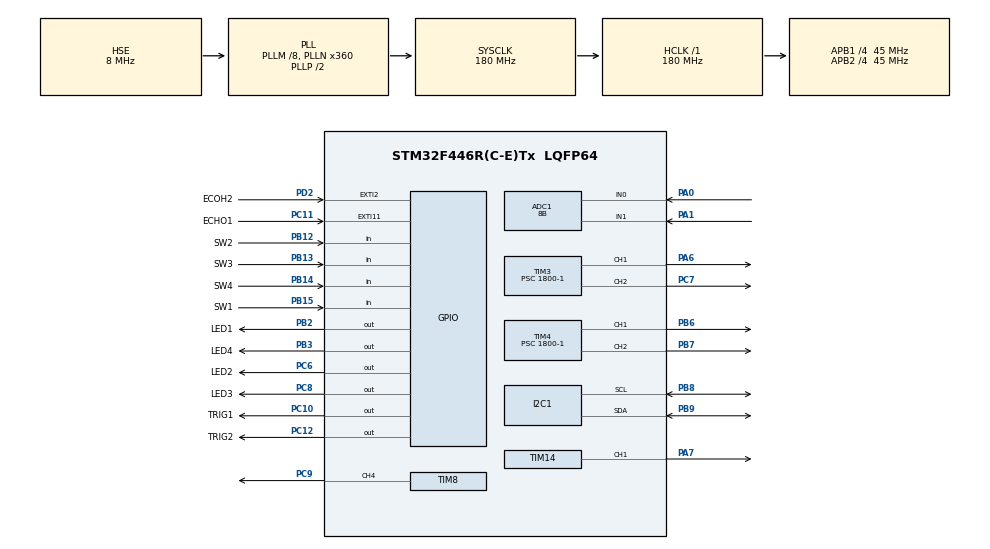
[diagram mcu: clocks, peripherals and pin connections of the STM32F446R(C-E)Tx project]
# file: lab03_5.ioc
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ADC1.Channel-0\#ChannelRegularConversion=ADC_CHANNEL_0
ADC1.NbrOfConversionFlag=1
ADC1.Rank-0\#ChannelRegularConversion=1
ADC1.Resolution=ADC_RESOLUTION_8B
ADC1.SamplingTime-0\#ChannelRegularConversion=ADC_SAMPLETIME_3CYCLES
ADC1.master=1
FREERTOS.Mutexes01=joyMutex,Dynamic,NULL,Available;motorMutex,Dynamic,NULL,Available;ultraMutex,Dynamic,NULL,Available
FREERTOS.Tasks01=ultrasonicTask,24,128,ultrasonicThread,Default,NULL,Dynamic,NULL,NULL;motorTask,24,128,motorThread,Default,NULL,Dynamic,NULL,NULL;switchTask,8,128,switchThread,Default,NULL,Dynamic,NULL,NULL;joystickTask,24,128,joystickThread,Default,NULL,Dynamic,NULL,NULL;mainTask,24,128,mainThread,Default,NULL,Dynamic,NULL,NULL
FREERTOS.configUSE_NEWLIB_REENTRANT=1
I2C1.I2C_Mode=I2C_Fast
Mcu.Family=STM32F4
Mcu.Name=STM32F446R(C-E)Tx
Mcu.Package=LQFP64
NVIC.EXTI15_10_IRQn=true\:5\:0\:false\:false\:true\:true\:true\:true\:true
NVIC.EXTI2_IRQn=true\:5\:0\:false\:false\:true\:true\:true\:true\:true
NVIC.PriorityGroup=NVIC_PRIORITYGROUP_4
NVIC.TIM7_IRQn=true\:15\:0\:false\:false\:true\:false\:false\:true\:true
NVIC.TimeBase=TIM7_IRQn
NVIC.TimeBaseIP=TIM7
PA0-WKUP.Signal=ADCx_IN0
PA1.Signal=ADCx_IN1
PA13.Mode=Serial_Wire
PA13.Signal=SYS_JTMS-SWDIO
PA14.Mode=Serial_Wire
PA14.Signal=SYS_JTCK-SWCLK
PA6.Signal=S_TIM3_CH1
PA7.Signal=S_TIM14_CH1
PB12.GPIO_Label=SW2
PB12.Signal=GPIO_Input
PB13.GPIO_Label=SW3
PB13.Signal=GPIO_Input
PB14.GPIO_Label=SW4
PB14.Signal=GPIO_Input
PB15.GPIO_Label=SW1
PB15.Signal=GPIO_Input
PB2.GPIO_Label=LED1
PB2.Signal=GPIO_Output
PB3.GPIO_Label=LED4
PB3.Signal=GPIO_Output
PB6.Signal=S_TIM4_CH1
PB7.Signal=S_TIM4_CH2
PB8.Mode=I2C
PB8.Signal=I2C1_SCL
PB9.Mode=I2C
PB9.Signal=I2C1_SDA
PC10.GPIO_Label=TRIG1
PC10.Signal=GPIO_Output
PC11.GPIO_Label=ECHO1
PC11.GPIO_ModeDefaultEXTI=GPIO_MODE_IT_RISING_FALLING
PC11.Signal=GPXTI11
PC12.GPIO_Label=TRIG2
PC12.Signal=GPIO_Output
PC6.GPIO_Label=LED2
PC6.Signal=GPIO_Output
PC7.Signal=S_TIM3_CH2
PC8.GPIO_Label=LED3
PC8.Signal=GPIO_Output
PC9.Signal=S_TIM8_CH4
PD2.GPIO_Label=ECOH2
PD2.GPIO_ModeDefaultEXTI=GPIO_MODE_IT_RISING_FALLING
PD2.Signal=GPXTI2
PH0-OSC_IN.Mode=HSE-External-Oscillator
PH0-OSC_IN.Signal=RCC_OSC_IN
PH1-OSC_OUT.Mode=HSE-External-Oscillator
PH1-OSC_OUT.Signal=RCC_OSC_OUT
ProjectManager.HeapSize=0x200
ProjectManager.StackSize=0x400
ProjectManager.TargetToolchain=STM32CubeIDE
RCC.AHBFreq_Value=180000000
RCC.APB1CLKDivider=RCC_HCLK_DIV4
RCC.APB1Freq_Value=45000000
RCC.APB1TimFreq_Value=90000000
RCC.APB2CLKDivider=RCC_HCLK_DIV4
RCC.APB2Freq_Value=45000000
RCC.APB2TimFreq_Value=90000000
RCC.CortexFreq_Value=180000000
RCC.HCLKFreq_Value=180000000
RCC.HSE_VALUE=8000000
RCC.PLLM=8
RCC.PLLN=360
RCC.PLLSourceVirtual=RCC_PLLSOURCE_HSE
RCC.SYSCLKFreq_VALUE=180000000
RCC.SYSCLKSource=RCC_SYSCLKSOURCE_PLLCLK
RCC.USBFreq_Value=180000000
RCC.VCOOutputFreq_Value=360000000
SH.ADCx_IN0.0=ADC1_IN0,IN0
SH.ADCx_IN1.0=ADC1_IN1,IN1
SH.S_TIM14_CH1.0=TIM14_CH1,PWM Generation1 CH1
SH.S_TIM3_CH1.0=TIM3_CH1,PWM Generation1 CH1
SH.S_TIM3_CH2.0=TIM3_CH2,PWM Generation2 CH2
SH.S_TIM4_CH1.0=TIM4_CH1,PWM Generation1 CH1
SH.S_TIM4_CH2.0=TIM4_CH2,PWM Generation2 CH2
SH.S_TIM8_CH4.0=TIM8_CH4,PWM Generation4 CH4
TIM14.AutoReloadPreload=TIM_AUTORELOAD_PRELOAD_ENABLE
TIM14.Channel=TIM_CHANNEL_1
TIM14.Period=10000-1
TIM14.Prescaler=180-1
TIM2.AutoReloadPreload=TIM_AUTORELOAD_PRELOAD_ENABLE
TIM2.Prescaler=90-1
TIM3.AutoReloadPreload=TIM_AUTORELOAD_PRELOAD_ENABLE
TIM3.Channel-PWM\ Generation1\ CH1=TIM_CHANNEL_1
TIM3.Channel-PWM\ Generation2\ CH2=TIM_CHANNEL_2
TIM3.Period=1000-1
TIM3.Prescaler=1800-1
TIM4.AutoReloadPreload=TIM_AUTORELOAD_PRELOAD_ENABLE
TIM4.Channel-PWM\ Generation1\ CH1=TIM_CHANNEL_1
TIM4.Channel-PWM\ Generation2\ CH2=TIM_CHANNEL_2
TIM4.Period=1000-1
TIM4.Prescaler=1800-1
TIM8.AutoReloadPreload=TIM_AUTORELOAD_PRELOAD_ENABLE
TIM8.Channel-PWM\ Generation4\ CH4=TIM_CHANNEL_4
TIM8.Period=10000-1
TIM8.Prescaler=180-1
VP_FREERTOS_VS_CMSIS_V2.Mode=CMSIS_V2
VP_SYS_VS_tim7.Mode=TIM7
VP_TIM14_VS_ClockSourceINT.Mode=Enable_Timer
VP_TIM2_VS_ClockSourceINT.Mode=Internal
VP_TIM3_VS_ClockSourceINT.Mode=Internal
VP_TIM4_VS_ClockSourceINT.Mode=Internal
VP_TIM8_VS_ClockSourceINT.Mode=Internal
board=custom

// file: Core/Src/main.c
/* USER CODE BEGIN Header */
/**
  ******************************************************************************
  * @file           : main.c
  * @brief          : Main program body
  ******************************************************************************
  * @attention
  *
  * Copyright (c) 2026 STMicroelectronics.
  * All rights reserved.
  *
  * This software is licensed under terms that can be found in the LICENSE file
  * in the root directory of this software component.
  * If no LICENSE file comes with this software, it is provided AS-IS.
  *
  ******************************************************************************
  */
/* USER CODE END Header */
#include "main.h"
#include "cmsis_os.h"

/* USER CODE BEGIN Includes */
#include <stdio.h>
#include <string.h>
#include "ssd1306.h"
/* USER CODE END Includes */

/* USER CODE BEGIN PD */
#define MAXDISTANCE 3000  //Maximum distance 3000uS/2
#define MAXDELAY	5   //Maximum time delay in ms
#define MAXDETECT   1000 //Maximum distance considered as detected uS/2
/* USER CODE END PD */

ADC_HandleTypeDef hadc1;

I2C_HandleTypeDef hi2c1;

TIM_HandleTypeDef htim2;
TIM_HandleTypeDef htim3;
TIM_HandleTypeDef htim4;
TIM_HandleTypeDef htim8;
TIM_HandleTypeDef htim14;

/* Definitions for ultrasonicTask */
osThreadId_t ultrasonicTaskHandle;
const osThreadAttr_t ultrasonicTask_attributes = {
  .name = "ultrasonicTask",
  .stack_size = 128 * 4,
  .priority = (osPriority_t) osPriorityNormal,
};
/* Definitions for motorTask */
osThreadId_t motorTaskHandle;
const osThreadAttr_t motorTask_attributes = {
  .name = "motorTask",
  .stack_size = 128 * 4,
  .priority = (osPriority_t) osPriorityNormal,
};
/* Definitions for switchTask */
osThreadId_t switchTaskHandle;
const osThreadAttr_t switchTask_attributes = {
  .name = "switchTask",
  .stack_size = 128 * 4,
  .priority = (osPriority_t) osPriorityLow,
};
/* Definitions for joystickTask */
osThreadId_t joystickTaskHandle;
const osThreadAttr_t joystickTask_attributes = {
  .name = "joystickTask",
  .stack_size = 128 * 4,
  .priority = (osPriority_t) osPriorityNormal,
};
/* Definitions for mainTask */
osThreadId_t mainTaskHandle;
const osThreadAttr_t mainTask_attributes = {
  .name = "mainTask",
  .stack_size = 128 * 4,
  .priority = (osPriority_t) osPriorityNormal,
};
/* Definitions for joyMutex */
osMutexId_t joyMutexHandle;
const osMutexAttr_t joyMutex_attributes = {
  .name = "joyMutex"
};
/* Definitions for motorMutex */
osMutexId_t motorMutexHandle;
const osMutexAttr_t motorMutex_attributes = {
  .name = "motorMutex"
};
/* Definitions for ultraMutex */
osMutexId_t ultraMutexHandle;
const osMutexAttr_t ultraMutex_attributes = {
  .name = "ultraMutex"
};
/* USER CODE BEGIN PV */
//LED1-4
GPIO_TypeDef *ledPort[4] = {GPIOB,GPIOC,GPIOC,GPIOB};
int ledGPIO[4] = {GPIO_PIN_2,GPIO_PIN_6,GPIO_PIN_8,GPIO_PIN_3};

//SWITCH1-4
GPIO_TypeDef *keyPort[4] = {GPIOB,GPIOB,GPIOB,GPIOB};
int keyGPIO[4] = {GPIO_PIN_15,GPIO_PIN_12,GPIO_PIN_13,GPIO_PIN_14};

//ULTRASONIC1-2
GPIO_TypeDef *UP_trig[2] = {GPIOC,GPIOC};
GPIO_TypeDef *UP_echo[2] = {GPIOD,GPIOC};
uint16_t trig[2] = {GPIO_PIN_12,GPIO_PIN_10};
uint16_t echo[2] = {GPIO_PIN_2,GPIO_PIN_11};

int direction=0;		//robot left-right direction
int speed=0;			//robot forward/backward direction
int motorSpeed[2] = {0};//main motors speed
int ultra[2] = {-1,-1}; //left-right detection
int ultraEN = 0;		//ultrasonic detection enable
int servoEN = 0;		//servo movement enable
int joyX,joyY;			//value from joystick
int servoPWM[2] = {50,50};//servo PWM
char msg[64];
int distance[19]={0};	//distance in 180 degree,use with servoEN=1

uint32_t uStart1,uStart2,uEnd1,uEnd2;
uint32_t uTime[2];
/* USER CODE END PV */

void SystemClock_Config(void);
static void MX_GPIO_Init(void);
static void MX_TIM2_Init(void);
static void MX_I2C1_Init(void);
static void MX_ADC1_Init(void);
static void MX_TIM3_Init(void);
static void MX_TIM4_Init(void);
static void MX_TIM8_Init(void);
static void MX_TIM14_Init(void);
void ultrasonicThread(void *argument);
void motorThread(void *argument);
void switchThread(void *argument);
void joystickThread(void *argument);
void mainThread(void *argument);

/* USER CODE BEGIN PFP */
int getch(int sw);
void lightLED(int no,int value);
void clearTimer();
uint32_t getTimer();
void uDelay(uint32_t us);
int ultraSonic(int no);
void setADCChannel(ADC_HandleTypeDef *hadc, uint32_t chan);
/* USER CODE END PFP */

/* USER CODE BEGIN 0 */
void HAL_GPIO_EXTI_Callback(uint16_t GPIO_Pin){
	if(GPIO_Pin == GPIO_PIN_2){ //left side
		if(HAL_GPIO_ReadPin(GPIOD,GPIO_PIN_2)){ //start positive pulse
			uStart1 = __HAL_TIM_GetCounter(&htim2); //Read timestamp
		}else{ //ending of positive pulse
			uEnd1 = __HAL_TIM_GetCounter(&htim2);
			uTime[0] = uEnd1-uStart1;
		}
	}else if(GPIO_Pin == GPIO_PIN_11){ //right side
		if(HAL_GPIO_ReadPin(GPIOC,GPIO_PIN_11)){ //start positive pulse
			uStart2 = __HAL_TIM_GetCounter(&htim2); //Read timestamp
		}else{ //ending of positive pulse
			uEnd2 = __HAL_TIM_GetCounter(&htim2);
			uTime[1] = uEnd2-uStart2;
		}
	}
}
/* USER CODE END 0 */

int main(void)
{

  /* MCU Configuration--------------------------------------------------------*/

  /* Reset of all peripherals, Initializes the Flash interface and the Systick. */
  HAL_Init();

  /* Configure the system clock */
  SystemClock_Config();

  /* Initialize all configured peripherals */
  MX_GPIO_Init();
  MX_TIM2_Init();
  MX_I2C1_Init();
  MX_ADC1_Init();
  MX_TIM3_Init();
  MX_TIM4_Init();
  MX_TIM8_Init();
  MX_TIM14_Init();
  /* USER CODE BEGIN 2 */
  HAL_TIM_Base_Start(&htim2);
  HAL_GPIO_WritePin(UP_trig[0],trig[0],0);
  HAL_GPIO_WritePin(UP_trig[1],trig[1],0);
  ssd1306_Init();
  /* USER CODE END 2 */

  /* Init scheduler */
  osKernelInitialize();
  /* Create the mutex(es) */
  /* creation of joyMutex */
  joyMutexHandle = osMutexNew(&joyMutex_attributes);

  /* creation of motorMutex */
  motorMutexHandle = osMutexNew(&motorMutex_attributes);

  /* creation of ultraMutex */
  ultraMutexHandle = osMutexNew(&ultraMutex_attributes);

  /* Create the thread(s) */
  /* creation of ultrasonicTask */
  ultrasonicTaskHandle = osThreadNew(ultrasonicThread, NULL, &ultrasonicTask_attributes);

  /* creation of motorTask */
  motorTaskHandle = osThreadNew(motorThread, NULL, &motorTask_attributes);

  /* creation of switchTask */
  switchTaskHandle = osThreadNew(switchThread, NULL, &switchTask_attributes);

  /* creation of joystickTask */
  joystickTaskHandle = osThreadNew(joystickThread, NULL, &joystickTask_attributes);

  /* creation of mainTask */
  mainTaskHandle = osThreadNew(mainThread, NULL, &mainTask_attributes);

  /* Start scheduler */
  osKernelStart();

  /* We should never get here as control is now taken by the scheduler */

  /* Infinite loop */
  while (1)
  {

  }
}

void SystemClock_Config(void)
{
  RCC_OscInitTypeDef RCC_OscInitStruct = {0};
  RCC_ClkInitTypeDef RCC_ClkInitStruct = {0};

  /** Configure the main internal regulator output voltage
  */
  __HAL_RCC_PWR_CLK_ENABLE();
  __HAL_PWR_VOLTAGESCALING_CONFIG(PWR_REGULATOR_VOLTAGE_SCALE1);

  /** Initializes the RCC Oscillators according to the specified parameters
  * in the RCC_OscInitTypeDef structure.
  */
  RCC_OscInitStruct.OscillatorType = RCC_OSCILLATORTYPE_HSE;
  RCC_OscInitStruct.HSEState = RCC_HSE_ON;
  RCC_OscInitStruct.PLL.PLLState = RCC_PLL_ON;
  RCC_OscInitStruct.PLL.PLLSource = RCC_PLLSOURCE_HSE;
  RCC_OscInitStruct.PLL.PLLM = 8;
  RCC_OscInitStruct.PLL.PLLN = 360;
  RCC_OscInitStruct.PLL.PLLP = RCC_PLLP_DIV2;
  RCC_OscInitStruct.PLL.PLLQ = 2;
  RCC_OscInitStruct.PLL.PLLR = 2;
  if (HAL_RCC_OscConfig(&RCC_OscInitStruct) != HAL_OK)
  {
    Error_Handler();
  }

  /** Activate the Over-Drive mode
  */
  if (HAL_PWREx_EnableOverDrive() != HAL_OK)
  {
    Error_Handler();
  }

  /** Initializes the CPU, AHB and APB buses clocks
  */
  RCC_ClkInitStruct.ClockType = RCC_CLOCKTYPE_HCLK|RCC_CLOCKTYPE_SYSCLK
                              |RCC_CLOCKTYPE_PCLK1|RCC_CLOCKTYPE_PCLK2;
  RCC_ClkInitStruct.SYSCLKSource = RCC_SYSCLKSOURCE_PLLCLK;
  RCC_ClkInitStruct.AHBCLKDivider = RCC_SYSCLK_DIV1;
  RCC_ClkInitStruct.APB1CLKDivider = RCC_HCLK_DIV4;
  RCC_ClkInitStruct.APB2CLKDivider = RCC_HCLK_DIV4;

  if (HAL_RCC_ClockConfig(&RCC_ClkInitStruct, FLASH_LATENCY_5) != HAL_OK)
  {
    Error_Handler();
  }
}

static void MX_ADC1_Init(void)
{

  ADC_ChannelConfTypeDef sConfig = {0};

  /** Configure the global features of the ADC (Clock, Resolution, Data Alignment and number of conversion)
  */
  hadc1.Instance = ADC1;
  hadc1.Init.ClockPrescaler = ADC_CLOCK_SYNC_PCLK_DIV2;
  hadc1.Init.Resolution = ADC_RESOLUTION_8B;
  hadc1.Init.ScanConvMode = DISABLE;
  hadc1.Init.ContinuousConvMode = DISABLE;
  hadc1.Init.DiscontinuousConvMode = DISABLE;
  hadc1.Init.ExternalTrigConvEdge = ADC_EXTERNALTRIGCONVEDGE_NONE;
  hadc1.Init.ExternalTrigConv = ADC_SOFTWARE_START;
  hadc1.Init.DataAlign = ADC_DATAALIGN_RIGHT;
  hadc1.Init.NbrOfConversion = 1;
  hadc1.Init.DMAContinuousRequests = DISABLE;
  hadc1.Init.EOCSelection = ADC_EOC_SINGLE_CONV;
  if (HAL_ADC_Init(&hadc1) != HAL_OK)
  {
    Error_Handler();
  }

  /** Configure for the selected ADC regular channel its corresponding rank in the sequencer and its sample time.
  */
  sConfig.Channel = ADC_CHANNEL_0;
  sConfig.Rank = 1;
  sConfig.SamplingTime = ADC_SAMPLETIME_3CYCLES;
  if (HAL_ADC_ConfigChannel(&hadc1, &sConfig) != HAL_OK)
  {
    Error_Handler();
  }

}

static void MX_I2C1_Init(void)
{

  hi2c1.Instance = I2C1;
  hi2c1.Init.ClockSpeed = 400000;
  hi2c1.Init.DutyCycle = I2C_DUTYCYCLE_2;
  hi2c1.Init.OwnAddress1 = 0;
  hi2c1.Init.AddressingMode = I2C_ADDRESSINGMODE_7BIT;
  hi2c1.Init.DualAddressMode = I2C_DUALADDRESS_DISABLE;
  hi2c1.Init.OwnAddress2 = 0;
  hi2c1.Init.GeneralCallMode = I2C_GENERALCALL_DISABLE;
  hi2c1.Init.NoStretchMode = I2C_NOSTRETCH_DISABLE;
  if (HAL_I2C_Init(&hi2c1) != HAL_OK)
  {
    Error_Handler();
  }

}

static void MX_TIM2_Init(void)
{

  TIM_ClockConfigTypeDef sClockSourceConfig = {0};
  TIM_MasterConfigTypeDef sMasterConfig = {0};

  htim2.Instance = TIM2;
  htim2.Init.Prescaler = 90-1;
  htim2.Init.CounterMode = TIM_COUNTERMODE_UP;
  htim2.Init.Period = 4294967295;
  htim2.Init.ClockDivision = TIM_CLOCKDIVISION_DIV1;
  htim2.Init.AutoReloadPreload = TIM_AUTORELOAD_PRELOAD_ENABLE;
  if (HAL_TIM_Base_Init(&htim2) != HAL_OK)
  {
    Error_Handler();
  }
  sClockSourceConfig.ClockSource = TIM_CLOCKSOURCE_INTERNAL;
  if (HAL_TIM_ConfigClockSource(&htim2, &sClockSourceConfig) != HAL_OK)
  {
    Error_Handler();
  }
  sMasterConfig.MasterOutputTrigger = TIM_TRGO_RESET;
  sMasterConfig.MasterSlaveMode = TIM_MASTERSLAVEMODE_DISABLE;
  if (HAL_TIMEx_MasterConfigSynchronization(&htim2, &sMasterConfig) != HAL_OK)
  {
    Error_Handler();
  }

}

static void MX_TIM3_Init(void)
{

  TIM_ClockConfigTypeDef sClockSourceConfig = {0};
  TIM_MasterConfigTypeDef sMasterConfig = {0};
  TIM_OC_InitTypeDef sConfigOC = {0};

  htim3.Instance = TIM3;
  htim3.Init.Prescaler = 1800-1;
  htim3.Init.CounterMode = TIM_COUNTERMODE_UP;
  htim3.Init.Period = 1000-1;
  htim3.Init.ClockDivision = TIM_CLOCKDIVISION_DIV1;
  htim3.Init.AutoReloadPreload = TIM_AUTORELOAD_PRELOAD_ENABLE;
  if (HAL_TIM_Base_Init(&htim3) != HAL_OK)
  {
    Error_Handler();
  }
  sClockSourceConfig.ClockSource = TIM_CLOCKSOURCE_INTERNAL;
  if (HAL_TIM_ConfigClockSource(&htim3, &sClockSourceConfig) != HAL_OK)
  {
    Error_Handler();
  }
  if (HAL_TIM_PWM_Init(&htim3) != HAL_OK)
  {
    Error_Handler();
  }
  sMasterConfig.MasterOutputTrigger = TIM_TRGO_RESET;
  sMasterConfig.MasterSlaveMode = TIM_MASTERSLAVEMODE_DISABLE;
  if (HAL_TIMEx_MasterConfigSynchronization(&htim3, &sMasterConfig) != HAL_OK)
  {
    Error_Handler();
  }
  sConfigOC.OCMode = TIM_OCMODE_PWM1;
  sConfigOC.Pulse = 0;
  sConfigOC.OCPolarity = TIM_OCPOLARITY_HIGH;
  sConfigOC.OCFastMode = TIM_OCFAST_DISABLE;
  if (HAL_TIM_PWM_ConfigChannel(&htim3, &sConfigOC, TIM_CHANNEL_1) != HAL_OK)
  {
    Error_Handler();
  }
  if (HAL_TIM_PWM_ConfigChannel(&htim3, &sConfigOC, TIM_CHANNEL_2) != HAL_OK)
  {
    Error_Handler();
  }
  HAL_TIM_MspPostInit(&htim3);

}

static void MX_TIM4_Init(void)
{

  TIM_ClockConfigTypeDef sClockSourceConfig = {0};
  TIM_MasterConfigTypeDef sMasterConfig = {0};
  TIM_OC_InitTypeDef sConfigOC = {0};

  htim4.Instance = TIM4;
  htim4.Init.Prescaler = 1800-1;
  htim4.Init.CounterMode = TIM_COUNTERMODE_UP;
  htim4.Init.Period = 1000-1;
  htim4.Init.ClockDivision = TIM_CLOCKDIVISION_DIV1;
  htim4.Init.AutoReloadPreload = TIM_AUTORELOAD_PRELOAD_ENABLE;
  if (HAL_TIM_Base_Init(&htim4) != HAL_OK)
  {
    Error_Handler();
  }
  sClockSourceConfig.ClockSource = TIM_CLOCKSOURCE_INTERNAL;
  if (HAL_TIM_ConfigClockSource(&htim4, &sClockSourceConfig) != HAL_OK)
  {
    Error_Handler();
  }
  if (HAL_TIM_PWM_Init(&htim4) != HAL_OK)
  {
    Error_Handler();
  }
  sMasterConfig.MasterOutputTrigger = TIM_TRGO_RESET;
  sMasterConfig.MasterSlaveMode = TIM_MASTERSLAVEMODE_DISABLE;
  if (HAL_TIMEx_MasterConfigSynchronization(&htim4, &sMasterConfig) != HAL_OK)
  {
    Error_Handler();
  }
  sConfigOC.OCMode = TIM_OCMODE_PWM1;
  sConfigOC.Pulse = 0;
  sConfigOC.OCPolarity = TIM_OCPOLARITY_HIGH;
  sConfigOC.OCFastMode = TIM_OCFAST_DISABLE;
  if (HAL_TIM_PWM_ConfigChannel(&htim4, &sConfigOC, TIM_CHANNEL_1) != HAL_OK)
  {
    Error_Handler();
  }
  if (HAL_TIM_PWM_ConfigChannel(&htim4, &sConfigOC, TIM_CHANNEL_2) != HAL_OK)
  {
    Error_Handler();
  }
  HAL_TIM_MspPostInit(&htim4);

}

static void MX_TIM8_Init(void)
{

  TIM_ClockConfigTypeDef sClockSourceConfig = {0};
  TIM_MasterConfigTypeDef sMasterConfig = {0};
  TIM_OC_InitTypeDef sConfigOC = {0};
  TIM_BreakDeadTimeConfigTypeDef sBreakDeadTimeConfig = {0};

  htim8.Instance = TIM8;
  htim8.Init.Prescaler = 180-1;
  htim8.Init.CounterMode = TIM_COUNTERMODE_UP;
  htim8.Init.Period = 10000-1;
  htim8.Init.ClockDivision = TIM_CLOCKDIVISION_DIV1;
  htim8.Init.RepetitionCounter = 0;
  htim8.Init.AutoReloadPreload = TIM_AUTORELOAD_PRELOAD_ENABLE;
  if (HAL_TIM_Base_Init(&htim8) != HAL_OK)
  {
    Error_Handler();
  }
  sClockSourceConfig.ClockSource = TIM_CLOCKSOURCE_INTERNAL;
  if (HAL_TIM_ConfigClockSource(&htim8, &sClockSourceConfig) != HAL_OK)
  {
    Error_Handler();
  }
  if (HAL_TIM_PWM_Init(&htim8) != HAL_OK)
  {
    Error_Handler();
  }
  sMasterConfig.MasterOutputTrigger = TIM_TRGO_RESET;
  sMasterConfig.MasterSlaveMode = TIM_MASTERSLAVEMODE_DISABLE;
  if (HAL_TIMEx_MasterConfigSynchronization(&htim8, &sMasterConfig) != HAL_OK)
  {
    Error_Handler();
  }
  sConfigOC.OCMode = TIM_OCMODE_PWM1;
  sConfigOC.Pulse = 0;
  sConfigOC.OCPolarity = TIM_OCPOLARITY_HIGH;
  sConfigOC.OCFastMode = TIM_OCFAST_DISABLE;
  sConfigOC.OCIdleState = TIM_OCIDLESTATE_RESET;
  sConfigOC.OCNIdleState = TIM_OCNIDLESTATE_RESET;
  if (HAL_TIM_PWM_ConfigChannel(&htim8, &sConfigOC, TIM_CHANNEL_4) != HAL_OK)
  {
    Error_Handler();
  }
  sBreakDeadTimeConfig.OffStateRunMode = TIM_OSSR_DISABLE;
  sBreakDeadTimeConfig.OffStateIDLEMode = TIM_OSSI_DISABLE;
  sBreakDeadTimeConfig.LockLevel = TIM_LOCKLEVEL_OFF;
  sBreakDeadTimeConfig.DeadTime = 0;
  sBreakDeadTimeConfig.BreakState = TIM_BREAK_DISABLE;
  sBreakDeadTimeConfig.BreakPolarity = TIM_BREAKPOLARITY_HIGH;
  sBreakDeadTimeConfig.AutomaticOutput = TIM_AUTOMATICOUTPUT_DISABLE;
  if (HAL_TIMEx_ConfigBreakDeadTime(&htim8, &sBreakDeadTimeConfig) != HAL_OK)
  {
    Error_Handler();
  }
  HAL_TIM_MspPostInit(&htim8);

}

static void MX_TIM14_Init(void)
{

  TIM_OC_InitTypeDef sConfigOC = {0};

  htim14.Instance = TIM14;
  htim14.Init.Prescaler = 180-1;
  htim14.Init.CounterMode = TIM_COUNTERMODE_UP;
  htim14.Init.Period = 10000-1;
  htim14.Init.ClockDivision = TIM_CLOCKDIVISION_DIV1;
  htim14.Init.AutoReloadPreload = TIM_AUTORELOAD_PRELOAD_ENABLE;
  if (HAL_TIM_Base_Init(&htim14) != HAL_OK)
  {
    Error_Handler();
  }
  if (HAL_TIM_PWM_Init(&htim14) != HAL_OK)
  {
    Error_Handler();
  }
  sConfigOC.OCMode = TIM_OCMODE_PWM1;
  sConfigOC.Pulse = 0;
  sConfigOC.OCPolarity = TIM_OCPOLARITY_HIGH;
  sConfigOC.OCFastMode = TIM_OCFAST_DISABLE;
  if (HAL_TIM_PWM_ConfigChannel(&htim14, &sConfigOC, TIM_CHANNEL_1) != HAL_OK)
  {
    Error_Handler();
  }
  HAL_TIM_MspPostInit(&htim14);

}

static void MX_GPIO_Init(void)
{
  GPIO_InitTypeDef GPIO_InitStruct = {0};

  /* GPIO Ports Clock Enable */
  __HAL_RCC_GPIOH_CLK_ENABLE();
  __HAL_RCC_GPIOA_CLK_ENABLE();
  __HAL_RCC_GPIOB_CLK_ENABLE();
  __HAL_RCC_GPIOC_CLK_ENABLE();
  __HAL_RCC_GPIOD_CLK_ENABLE();

  /*Configure GPIO pin Output Level */
  HAL_GPIO_WritePin(GPIOB, LED1_Pin|LED4_Pin, GPIO_PIN_RESET);

  /*Configure GPIO pin Output Level */
  HAL_GPIO_WritePin(GPIOC, LED2_Pin|LED3_Pin|TRIG1_Pin|TRIG2_Pin, GPIO_PIN_RESET);

  /*Configure GPIO pins : LED1_Pin LED4_Pin */
  GPIO_InitStruct.Pin = LED1_Pin|LED4_Pin;
  GPIO_InitStruct.Mode = GPIO_MODE_OUTPUT_PP;
  GPIO_InitStruct.Pull = GPIO_NOPULL;
  GPIO_InitStruct.Speed = GPIO_SPEED_FREQ_LOW;
  HAL_GPIO_Init(GPIOB, &GPIO_InitStruct);

  /*Configure GPIO pins : SW2_Pin SW3_Pin SW4_Pin SW1_Pin */
  GPIO_InitStruct.Pin = SW2_Pin|SW3_Pin|SW4_Pin|SW1_Pin;
  GPIO_InitStruct.Mode = GPIO_MODE_INPUT;
  GPIO_InitStruct.Pull = GPIO_NOPULL;
  HAL_GPIO_Init(GPIOB, &GPIO_InitStruct);

  /*Configure GPIO pins : LED2_Pin LED3_Pin TRIG1_Pin TRIG2_Pin */
  GPIO_InitStruct.Pin = LED2_Pin|LED3_Pin|TRIG1_Pin|TRIG2_Pin;
  GPIO_InitStruct.Mode = GPIO_MODE_OUTPUT_PP;
  GPIO_InitStruct.Pull = GPIO_NOPULL;
  GPIO_InitStruct.Speed = GPIO_SPEED_FREQ_LOW;
  HAL_GPIO_Init(GPIOC, &GPIO_InitStruct);

  /*Configure GPIO pin : ECHO1_Pin */
  GPIO_InitStruct.Pin = ECHO1_Pin;
  GPIO_InitStruct.Mode = GPIO_MODE_IT_RISING_FALLING;
  GPIO_InitStruct.Pull = GPIO_NOPULL;
  HAL_GPIO_Init(ECHO1_GPIO_Port, &GPIO_InitStruct);

  /*Configure GPIO pin : ECOH2_Pin */
  GPIO_InitStruct.Pin = ECOH2_Pin;
  GPIO_InitStruct.Mode = GPIO_MODE_IT_RISING_FALLING;
  GPIO_InitStruct.Pull = GPIO_NOPULL;
  HAL_GPIO_Init(ECOH2_GPIO_Port, &GPIO_InitStruct);

  /* EXTI interrupt init*/
  HAL_NVIC_SetPriority(EXTI2_IRQn, 5, 0);
  HAL_NVIC_EnableIRQ(EXTI2_IRQn);

  HAL_NVIC_SetPriority(EXTI15_10_IRQn, 5, 0);
  HAL_NVIC_EnableIRQ(EXTI15_10_IRQn);

}

/* USER CODE BEGIN 4 */
int getch(int sw){
	if(HAL_GPIO_ReadPin(keyPort[sw],keyGPIO[sw]))
		return 0; //not pressed
	HAL_Delay(20);
	//Wait for key unpressed
	while(!HAL_GPIO_ReadPin(keyPort[sw],keyGPIO[sw]))
		HAL_Delay(20);
	return 1;
}

void lightLED(int no,int value){
	HAL_GPIO_WritePin(ledPort[no],ledGPIO[no],value);
}

void clearTimer(){
	__HAL_TIM_SetCounter(&htim2,0);
}

uint32_t getTimer(){
	return __HAL_TIM_GetCounter(&htim2);
}

void uDelay(uint32_t us){
	uint32_t start;
	uint32_t finish = (start =__HAL_TIM_GetCounter(&htim2)) + us;
	if(start > finish){
		while(__HAL_TIM_GetCounter(&htim2)>start)
			osThreadYield(); // wait until it overruns
	}
	while(__HAL_TIM_GetCounter(&htim2)<finish)
			osThreadYield();
}

int ultraSonic(int no){
	clearTimer();
	HAL_GPIO_WritePin(UP_trig[no],trig[no],1);
	uDelay(10);
	HAL_GPIO_WritePin(UP_trig[no],trig[no],0);

	//wait for 4ms to allow  ECHO response to capture
	//using EXTI interrupt
    HAL_Delay(MAXDELAY);
    if((uTime[no]<1)||(uTime[no]>MAXDISTANCE))
		return -1;
    return uTime[no];
}

void setADCChannel(ADC_HandleTypeDef *hadc, uint32_t chan){
	ADC_ChannelConfTypeDef sConfig = {0};

	sConfig.Channel = chan;
	sConfig.Rank = 1;
	sConfig.SamplingTime = ADC_SAMPLETIME_3CYCLES;
	if (HAL_ADC_ConfigChannel(&hadc1, &sConfig) != HAL_OK){
		Error_Handler();
	}
}
/* USER CODE END 4 */

void ultrasonicThread(void *argument)
{
  /* USER CODE BEGIN 5 */
	int r,i,tmp;
	int step[18]={0,1,2,3,4,5,6,7,8,9,8,7,6,5,4,3,2,1};
	HAL_TIM_PWM_Start(&htim8,TIM_CHANNEL_4);
	TIM8->CCR4 = 500 + servoPWM[0]*5;
	HAL_TIM_PWM_Start(&htim14,TIM_CHANNEL_1);
	TIM14->CCR1 = 500 + servoPWM[1]*5;
  /* Infinite loop */
  for(;;)
  {
	  if(servoEN){
		  //Servo movement mode
		  for(r=0;r<18;r++){
			 servoPWM[0]=step[r]*11;
			 servoPWM[1]=step[r]*11;
			 TIM8->CCR4 = 500 + servoPWM[0]*5;
			 TIM14->CCR1 = 500 + servoPWM[1]*5;
			 for(i=0;i<2;i++){
			 	tmp = ultraSonic(i);
			 	if(tmp<0) tmp = MAXDISTANCE;
			 	if(tmp>MAXDISTANCE) tmp=MAXDISTANCE;
			 	distance[i*9+step[r]]=tmp;
				osDelay(20);
			 }
			osMutexWait(ultraMutexHandle,osWaitForever);
			ultra[0] = (distance[4]+distance[5]+distance[6]+distance[7]+distance[8])/5;
			ultra[1] = (distance[10]+distance[11]+distance[12]+distance[13]+distance[14])/5;
			osMutexRelease(ultraMutexHandle);
			osDelay(50);
		  }
	  }else{
		  //Fixed movement mode
		  servoPWM[0]=0; //Left servo
		  servoPWM[1]=100; //Right servo
		  TIM8->CCR4 = 500 + servoPWM[0]*5;
		  TIM14->CCR1 = 500 + servoPWM[1]*5;

		  osMutexWait(ultraMutexHandle,osWaitForever);
		  for(i=0;i<2;i++){
			  tmp = ultraSonic(i);
			  if(tmp>0) ultra[i]=tmp; else ultra[i] = MAXDISTANCE;
			  if(ultra[i] > MAXDISTANCE) ultra[i] = MAXDISTANCE;
			    osDelay(10);
		  }
		  osMutexRelease(ultraMutexHandle);

		  for(r=0;r<10;r++){
			  distance[r]=ultra[0];
			  distance[r+9]=ultra[1];
		  }
		  distance[9]= (ultra[0]+ultra[1])/2;
		  osDelay(30);
	  }
  }
  /* USER CODE END 5 */
}

void motorThread(void *argument)
{
  /* USER CODE BEGIN motorThread */
	//Start motor PWM
	HAL_TIM_PWM_Start(&htim3,TIM_CHANNEL_1);
	HAL_TIM_PWM_Start(&htim3,TIM_CHANNEL_2);
	HAL_TIM_PWM_Start(&htim4,TIM_CHANNEL_1);
	HAL_TIM_PWM_Start(&htim4,TIM_CHANNEL_2);
	TIM3->CCR1 = 0;
	TIM3->CCR2 = 0;
	TIM4->CCR1 = 0;
	TIM4->CCR2 = 0;
  /* Infinite loop */
  for(;;)
  {
	  //Translate speed to each motor speed
	osMutexWait(motorMutexHandle,osWaitForever);
	motorSpeed[0] = speed+direction;
	motorSpeed[1] = speed-direction;
	osMutexRelease(motorMutexHandle);
	//Correcting out-of-bound speed
	if(motorSpeed[0]> 100)motorSpeed[0]= 100;
	if(motorSpeed[0]<-100)motorSpeed[0]=-100;
	if(motorSpeed[1]> 100)motorSpeed[1]= 100;
	if(motorSpeed[1]<-100)motorSpeed[1]=-100;

	if(motorSpeed[0]>=0){
		TIM4->CCR1 = motorSpeed[0]*10;
		TIM4->CCR2 = 0;
	}else{
		TIM4->CCR1 = 0;
		TIM4->CCR2 = (-motorSpeed[0])*10;
	}
	if(motorSpeed[1]>=0){
		TIM3->CCR1 = motorSpeed[1]*10;
		TIM3->CCR2 = 0;
	}else{
		TIM3->CCR1 = 0;
		TIM3->CCR2 = (-motorSpeed[1])*10;
	}
	osDelay(50);
  }
  /* USER CODE END motorThread */
}

void switchThread(void *argument)
{
  /* USER CODE BEGIN switchThread */
  int led2=1,led3=1;
  lightLED(2,ultraEN);
  lightLED(3,servoEN);
  int r,n=MAXDISTANCE/20;
  /* Infinite loop */
  for(;;)
  {
	  //Enable Ultrasonic avoidance mode
	  if(getch(0)) ultraEN = 0;
	  if(getch(1)) ultraEN = 1;
	  if(getch(2)) servoEN = 0;
	  if(getch(3)) servoEN = 1;
	if(ultraEN){
		led2 = !led2;
		lightLED(2,led2);
	}else lightLED(2,1);
	if(servoEN){
		led3 = !led3;
		lightLED(3,led3);
	}else lightLED(3,1);

	ssd1306_Fill(Black);
	ssd1306_SetCursor(0,0);
	if(ultraEN) ssd1306_WriteString("SEN: ON",Font_6x8,White);
	else ssd1306_WriteString("SEN: OFF",Font_6x8,White);

	ssd1306_SetCursor(50,0);
	if(servoEN) ssd1306_WriteString("MOV: ON",Font_6x8,White);
	else ssd1306_WriteString("MOV: OFF",Font_6x8,White);

	char ch;
	ch=' ';
	if(joyY < 120) ch='^';
	if(joyY > 135) ch='v';
	ssd1306_SetCursor(110,0);
	ssd1306_WriteChar(ch,Font_6x8,White);

	ch=' ';
	if(joyX < 120) ch='<';
	if(joyX > 135) ch='>';
	ssd1306_SetCursor(120,0);
	ssd1306_WriteChar(ch,Font_6x8,White);
	for(r=0;r<19;r++){
		int tmp = 31-distance[18-r]/n;
		if(tmp<0) tmp=0;
		if(tmp>31)tmp=31;
		ssd1306_DrawRectangle(r*5+10,tmp,r*5+14,31,White);
	}

	ssd1306_UpdateScreen();

    osDelay(200);
  }
  /* USER CODE END switchThread */
}

void joystickThread(void *argument)
{
  /* USER CODE BEGIN joystickThread */
  /* Infinite loop */
  for(;;)
  {
	  setADCChannel(&hadc1,ADC_CHANNEL_0);
	  HAL_ADC_Start(&hadc1);
	  HAL_ADC_PollForConversion(&hadc1,HAL_MAX_DELAY);
	  osMutexWait(joyMutexHandle,osWaitForever);
	  joyX=(unsigned)HAL_ADC_GetValue(&hadc1);
	  setADCChannel(&hadc1,ADC_CHANNEL_1);
	  HAL_ADC_Start(&hadc1);
	  HAL_ADC_PollForConversion(&hadc1,HAL_MAX_DELAY);
	  joyY=(unsigned)HAL_ADC_GetValue(&hadc1);
	  osMutexRelease(joyMutexHandle);
	  osDelay(100);

  }
  /* USER CODE END joystickThread */
}

void mainThread(void *argument)
{
  /* USER CODE BEGIN mainThread */
	int tSpeed;
	int tDirection;
	int Ldetected,Rdetected;

  /* Infinite loop */
  for(;;)
  {
	osMutexWait(joyMutexHandle,osWaitForever);
	// read joystick y-axis
	tSpeed=(128-joyY)/12;
	if(tSpeed>10)tSpeed=10;
	if(tSpeed<-10)tSpeed=-10;

	// read joystick x-axis
	tDirection=(joyX-128)/24;
	if(tDirection>5) tDirection=5;
	if(tDirection<-5) tDirection=-5;

	osMutexRelease(joyMutexHandle);

	osMutexWait(ultraMutexHandle, osWaitForever);
	// read ultrasonics
	if((ultra[0]>0)&&(ultra[0]<MAXDETECT)&&ultraEN){
		Rdetected = 1;
		lightLED(0,1);
	}else{
		Rdetected = 0;
		lightLED(0,0);
	}
	if((ultra[1]>0)&&(ultra[1]<MAXDETECT)&&ultraEN){
		Ldetected = 1;
		lightLED(1,1);
	}else{
		Ldetected = 0;
		lightLED(1,0);
	}
	osMutexRelease(ultraMutexHandle);
	// both ultrasonic detected //stop (allow reverse)
	if(Ldetected&&Rdetected){
		if(tSpeed>=0) tSpeed=-2; //reverse
	}
	else if(Ldetected)  //back-turn to the right
		{tSpeed=-2; tDirection=3;}
	else if(Rdetected)  //back-turn to the left
	    {tSpeed=-2; tDirection=-3;}
	osMutexWait(motorMutexHandle,osWaitForever);
	speed = tSpeed*10;
	direction = tDirection*10;
	osMutexRelease(motorMutexHandle);
	osDelay(50);
  }
  /* USER CODE END mainThread */
}

void HAL_TIM_PeriodElapsedCallback(TIM_HandleTypeDef *htim)
{
  if (htim->Instance == TIM7)
  {
    HAL_IncTick();
  }
}

void Error_Handler(void)
{
  __disable_irq();
  while (1)
  {
  }
}
